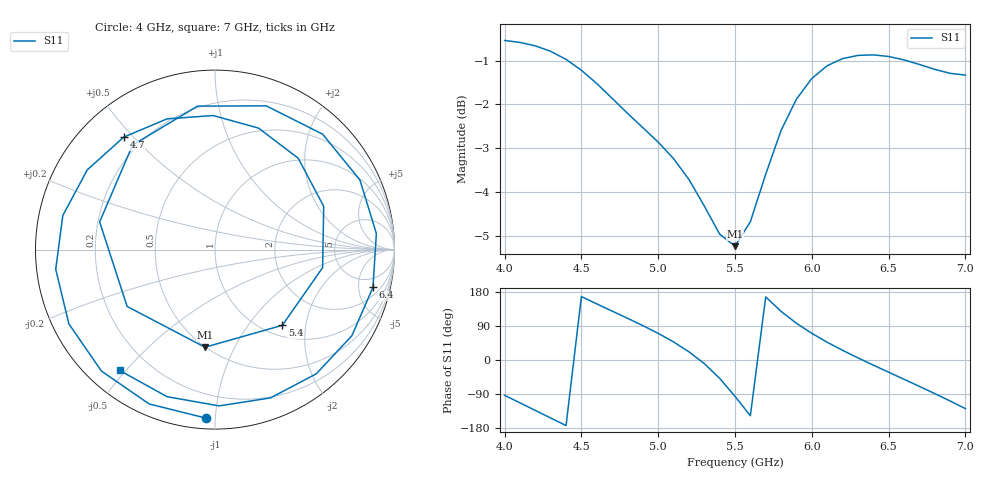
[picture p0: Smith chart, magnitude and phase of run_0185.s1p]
! Touchstone file exported from HFSS 2024.2.0
!  File:  C:/Users/wsak9/Desktop/Sim Fast/Widenad Patch/WP_AI_V1_sweep.aedt
!  Generated:  10:40:05 PM Oct 13, 2026
!  Design:  A1_model
!  Project:  WP_AI_V1_sweep
!  Setup:  Setup1
!  Solution:  Sweep
! Variables:
!  Air_gap = 4.34mm
!  Curve_Amp1 = 1.68
!  Curve_len1 = 1
!  Curve_pos = 11.18mm
!  Extra = 0.51mm
!  H_sub = 0.79mm
!  L_Patch = 18.36mm
!  L_Patch1 = 15.74mm
!  Sx = 2.66mm
!  Sy = 1.2mm
!  WS = 1.44mm
!  W_Patch = 10.89mm
!  W_Patch1 = 15.23mm
!Data is not renormalized
# GHz S MA
! Terminal data exported
! Port[1] = 1
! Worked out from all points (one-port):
!   31 points, 4 GHz to 7 GHz, reference per port
!   lowest |S11| = -5.2 dB at 5.5 GHz (marker M1), VSWR 3.41
!   |S11| at or under -10 dB: nowhere
!   S11 on the Smith chart (normalised r, x): 4 GHz: 0.06, -0.94; 4.7 GHz: 0.13, +0.47; 5.4 GHz: 1.20, -1.48; 6.4 GHz: 3.09, -7.17; 7 GHz: 0.09, -0.48
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4  0.9398 -93.2
4.1  0.9349 -113.1
4.2  0.9265 -133.1
4.3  0.9133 -153.1
4.4  0.8941 -173.0
4.5  0.8689 167.4
4.7  0.807 129.0
4.8  0.7759 110.1
5  0.719 70.3
5.1  0.6885 47.7
5.2  0.6518 21.7
5.3  0.6078 -9.5
5.4  0.5645 -48.3
5.5  0.5468 -95.8
5.6  0.5831 -147.1
5.7  0.6609 166.5
5.8  0.7416 128.3
5.9  0.8052 96.9
6  0.8503 70.4
6.1  0.8793 47.0
6.2  0.8958 25.6
6.3  0.9035 5.7
6.4  0.9048 -13.4
6.5  0.901 -32.2
6.7  0.8823 -69.5
6.8  0.871 -88.5
6.9  0.8619 -108.0
7  0.8579 -128.3
